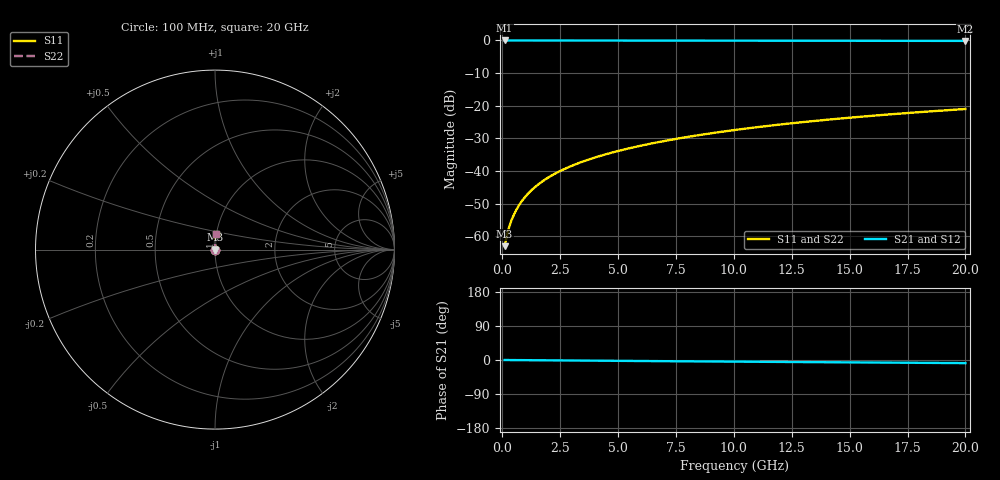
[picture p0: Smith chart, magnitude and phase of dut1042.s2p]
! Touchstone file exported from HFSS 2024.1.0
!  File:  C:/UserFiles/LocalFiles/RDL_TSV_Batchsim/temp_RDL_bottom_1042_1780051577.aedt
!  Generated:  06:48:36 PM May 29, 2026
!  Design:  RDL_bottom
!  Project:  temp_RDL_bottom_1042_1780051577
!  Setup:  Setup1
!  Solution:  Sweep
! Variables:
!  dtsv = 10.80580581um
!  hbump = 3um
!  htsv = 87um
!  ldown = 101.69um
!  lrdl = 100um
!  p = 40
!  p1 = 40.7um
!  rhole = 1um
!  t = 450um
!  tdown = 4.57um
!  trdl = 3.915915916um
!  wdown = 20.25um
!  wrdl = 20um
# GHz S MA R 50.000000
! Terminal data exported
! Port[1] = RDL1_T1
! Port[2] = RDL1_T2
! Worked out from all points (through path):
!   200 points, 100 MHz to 20 GHz, reference 50 ohm
!   highest |S21| = 0.00 dB at 100 MHz (marker M1); lowest = -0.1 dB at 20 GHz (marker M2)
!   group delay of S21, straight-line fit = 1.13 ps
!   lowest |S11| = -63.0 dB at 100 MHz (marker M3), VSWR 1.00, Z = 50.1 + j0.0441 ohm
!   |S11| at or under -10 dB: start of sweep to end of sweep
!   |S22| runs from -63.0 to -21.0 dB; largest |S21 - S12| = 3.1e-15
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0.1  0.000709 38.4  0.9994 -0.0  0.9994 -0.0  0.000709 38.4
! Gamma 0 0 0 0
! Port Impedance 50 0 50 0
0.2  0.00104 55.8  0.9994 -0.1  0.9994 -0.1  0.00104 55.8
0.3  0.001403 64.2  0.9994 -0.1  0.9994 -0.1  0.001403 64.2
0.4  0.001773 69.3  0.9993 -0.2  0.9993 -0.2  0.001773 69.3
0.5  0.002148 72.7  0.9993 -0.2  0.9993 -0.2  0.002148 72.7
0.6  0.002527 75.2  0.9993 -0.3  0.9993 -0.3  0.002527 75.2
0.8  0.003295 78.7  0.9992 -0.4  0.9992 -0.4  0.003295 78.7
1.1  0.004465 81.7  0.9992 -0.5  0.9992 -0.5  0.004465 81.7
1.5  0.006042 84.1  0.999 -0.7  0.999 -0.7  0.006042 84.1
1.8  0.007233 85.2  0.9989 -0.8  0.9989 -0.8  0.007233 85.2
2.1  0.00843 86.0  0.9988 -1.0  0.9988 -1.0  0.00843 86.0
2.7  0.01084 87.2  0.9984 -1.2  0.9984 -1.2  0.01084 87.2
3.5  0.01409 88.3  0.9979 -1.6  0.9979 -1.6  0.01409 88.3
4.2  0.01697 88.9  0.9974 -1.9  0.9974 -1.9  0.01697 88.9
5  0.02031 89.4  0.9967 -2.3  0.9967 -2.3  0.02031 89.4
5.9  0.02413 89.8  0.9959 -2.6  0.9959 -2.6  0.02413 89.8
6.8  0.02803 90.0  0.9951 -3.0  0.9951 -3.0  0.02803 90.0
8.4  0.03512 90.1  0.9936 -3.7  0.9936 -3.7  0.03512 90.1
10.1  0.04285 89.8  0.992 -4.4  0.992 -4.4  0.04285 89.8
13.4  0.05819 88.8  0.9892 -5.7  0.9892 -5.7  0.05819 88.8
16.7  0.0737 87.4  0.9866 -6.9  0.9866 -6.9  0.0737 87.4
20  0.0892 85.8  0.9841 -8.2  0.9841 -8.2  0.0892 85.8
